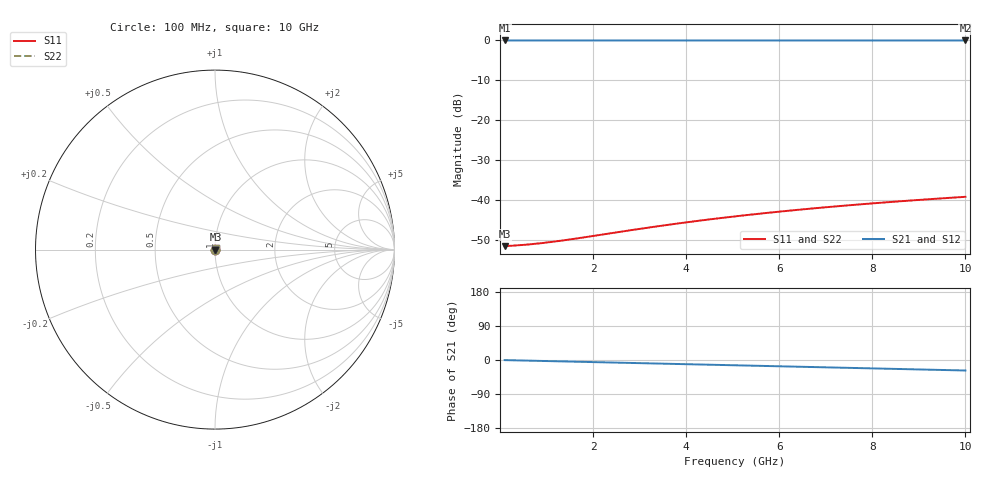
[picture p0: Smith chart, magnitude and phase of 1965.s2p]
# Hz S RI R 50.00
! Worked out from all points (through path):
!   100 points, 100 MHz to 10 GHz, reference 50 ohm
!   highest |S21| = -0.02 dB at 100 MHz (marker M1); lowest = 0.0 dB at 10 GHz (marker M2)
!   group delay of S21, straight-line fit = 7.7 ps
!   lowest |S11| = -51.7 dB at 100 MHz (marker M3), VSWR 1.01, Z = 50.3 + j0.0101 ohm
!   |S11| at or under -10 dB: start of sweep to end of sweep
!   |S22| runs from -51.7 to -39.3 dB; largest |S21 - S12| = 0
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1e8  0.00261 0.0001  0.9974 -0.0048  0.9974 -0.0048  0.00261 0.0001
3e8  0.00264 0.000301  0.9972 -0.0144  0.9972 -0.0144  0.00264 0.000301
5e8  0.00266 0.0005  0.997 -0.024  0.997 -0.024  0.00266 0.0005
7e8  0.00268 0.000699  0.9967 -0.0336  0.9967 -0.0336  0.00268 0.000699
9e8  0.00271 0.000898  0.9964 -0.0432  0.9964 -0.0432  0.00271 0.000898
1.1e9  0.00273 0.0011  0.9959 -0.0528  0.9959 -0.0528  0.00273 0.0011
1.3e9  0.00276 0.00129  0.9953 -0.0624  0.9953 -0.0624  0.00276 0.00129
1.8e9  0.00285 0.00178  0.9935 -0.0863  0.9935 -0.0863  0.00285 0.00178
2.8e9  0.00309 0.00273  0.9881 -0.1341  0.9881 -0.1341  0.00309 0.00273
3.4e9  0.00328 0.00329  0.9838 -0.1626  0.9838 -0.1626  0.00328 0.00329
3.8e9  0.00342 0.00365  0.9804 -0.1816  0.9804 -0.1816  0.00342 0.00365
4.2e9  0.00358 0.00401  0.9767 -0.2005  0.9767 -0.2005  0.00358 0.00401
4.6e9  0.00375 0.00435  0.9726 -0.2193  0.9726 -0.2193  0.00375 0.00435
5.1e9  0.00398 0.00478  0.967 -0.2427  0.967 -0.2427  0.00398 0.00478
5.5e9  0.00418 0.0051  0.9621 -0.2614  0.9621 -0.2614  0.00418 0.0051
5.9e9  0.00439 0.00542  0.9569 -0.2799  0.9569 -0.2799  0.00439 0.00542
6.3e9  0.00462 0.00573  0.9513 -0.2984  0.9513 -0.2984  0.00462 0.00573
6.7e9  0.00486 0.00603  0.9453 -0.3168  0.9453 -0.3168  0.00486 0.00603
7.5e9  0.00537 0.0066  0.9322 -0.3531  0.9322 -0.3531  0.00537 0.0066
8.4e9  0.006 0.00719  0.9159 -0.3935  0.9159 -0.3935  0.006 0.00719
9.2e9  0.0066 0.00766  0.8999 -0.4288  0.8999 -0.4288  0.0066 0.00766
1e10  0.00725 0.00809  0.8825 -0.4634  0.8825 -0.4634  0.00725 0.00809
